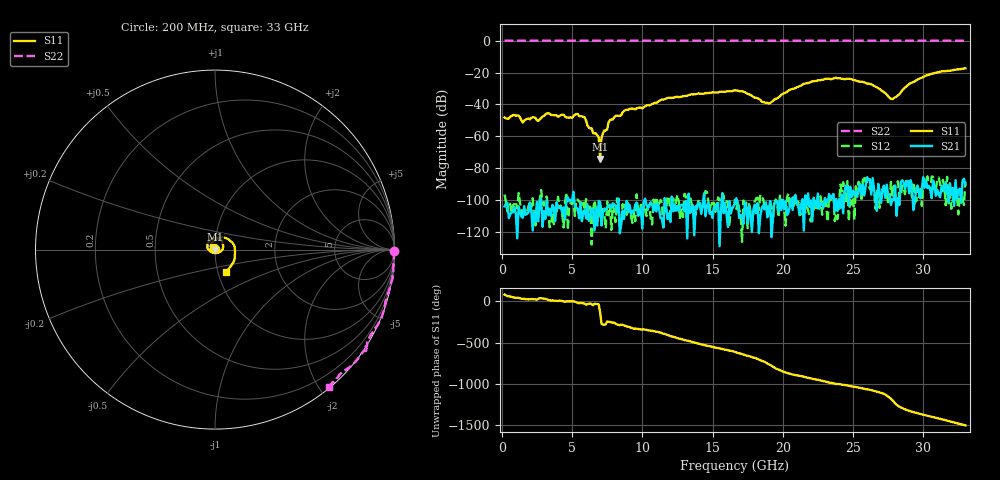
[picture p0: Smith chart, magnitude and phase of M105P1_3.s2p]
# GHZ S RI R 50
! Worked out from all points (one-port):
!   329 points, 200 MHz to 33 GHz, reference 50 ohm
!   lowest |S11| = -74.2 dB at 7 GHz (marker M1), VSWR 1.00, Z = 50 - j0.0134 ohm
!   |S11| at or under -10 dB: start of sweep to end of sweep
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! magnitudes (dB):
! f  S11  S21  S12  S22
! 200 MHz  -48.2  -103.9  -96.5  0.0
! 1.2 GHz  -47.0  -104.1  -95.5  0.0
! 1.5 GHz  -51.3  -111.0  -111.6  0.0
! 2.2 GHz  -48.1  -119.0  -98.8  0.0
! 2.6 GHz  -50.2  -113.3  -106.2  0.0
! 3.3 GHz  -45.5  -108.9  -106.0  0.0
! 5.7 GHz  -47.4  -113.2  -104.4  0.0
! 6.9 GHz  -60.6  -100.5  -111.5  0.0
! 7 GHz  -74.2  -101.2  -102.6  0.0
! 7.1 GHz  -60.9  -115.9  -106.0  0.0
! 7.5 GHz  -55.6  -104.5  -100.9  0.0
! 7.7 GHz  -49.9  -103.0  -102.9  0.0
! 8.8 GHz  -43.5  -104.6  -102.7  0.0
! 11.2 GHz  -37.8  -105.3  -102.0  -0.1
! 16.6 GHz  -31.2  -101.8  -99.7  0.0
! 19 GHz  -39.4  -107.7  -102.6  -0.1
! 22.1 GHz  -25.6  -113.3  -106.3  -0.1
! 24.8 GHz  -24.0  -91.6  -98.4  0.0
! 26.4 GHz  -27.8  -86.1  -92.2  0.0
! 27.6 GHz  -35.9  -97.1  -100.6  0.0
! 30.2 GHz  -21.9  -87.5  -88.1  -0.1
! 33 GHz  -17.4  -90.3  -88.3  -0.1
